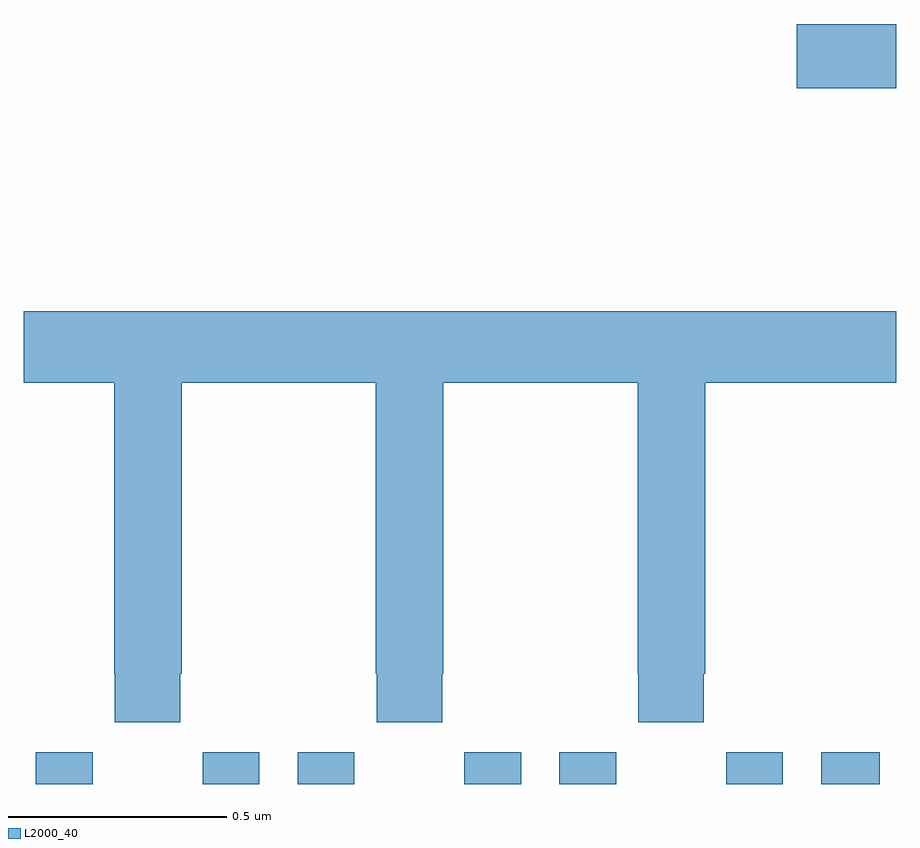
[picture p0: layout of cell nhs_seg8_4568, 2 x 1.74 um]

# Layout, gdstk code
import gdstk
lib = gdstk.Library(unit=1e-6, precision=1e-09)
def R(c, l, rs):  # rectangles x0, y0, x1, y1
    for r in rs: c.add(gdstk.rectangle(r[:2], r[2:], *l))
def P(c, l, *ps):  # polygons
    for p in ps: c.add(gdstk.Polygon(p, *l))
L2000_40 = (2000, 40)

nhs_seg8_4568 = lib.new_cell('nhs_seg8_4568')
R(nhs_seg8_4568, L2000_40, [(172.028,1128.9,172.158,1128.973), (172.41,1128.9,172.54,1128.973), (172.628,1128.9,172.758,1128.973), (173.01,1128.9,173.14,1128.973), (173.228,1128.9,173.358,1128.973), (173.61,1128.9,173.74,1128.973), (173.828,1128.9,173.962,1128.973), (173.772,1130.495,174,1130.642)])
P(nhs_seg8_4568, L2000_40, [(172.359,1129.153),(172.362,1129.153),(172.362,1129.82),(172.807,1129.82),(172.807,1129.153),(172.809,1129.153),(172.809,1129.041),(172.959,1129.041),(172.959,1129.153),(172.962,1129.153),(172.962,1129.82),(173.407,1129.82),(173.407,1129.153),(173.409,1129.153),(173.409,1129.041),(173.559,1129.041),(173.559,1129.153),(173.562,1129.153),(173.562,1129.82),(174,1129.82),(174,1129.984),(172,1129.984),(172,1129.82),(172.207,1129.82),(172.207,1129.153),(172.209,1129.153),(172.209,1129.041),(172.359,1129.041)])

lib.write_gds('nhs_seg8_4568.gds')
